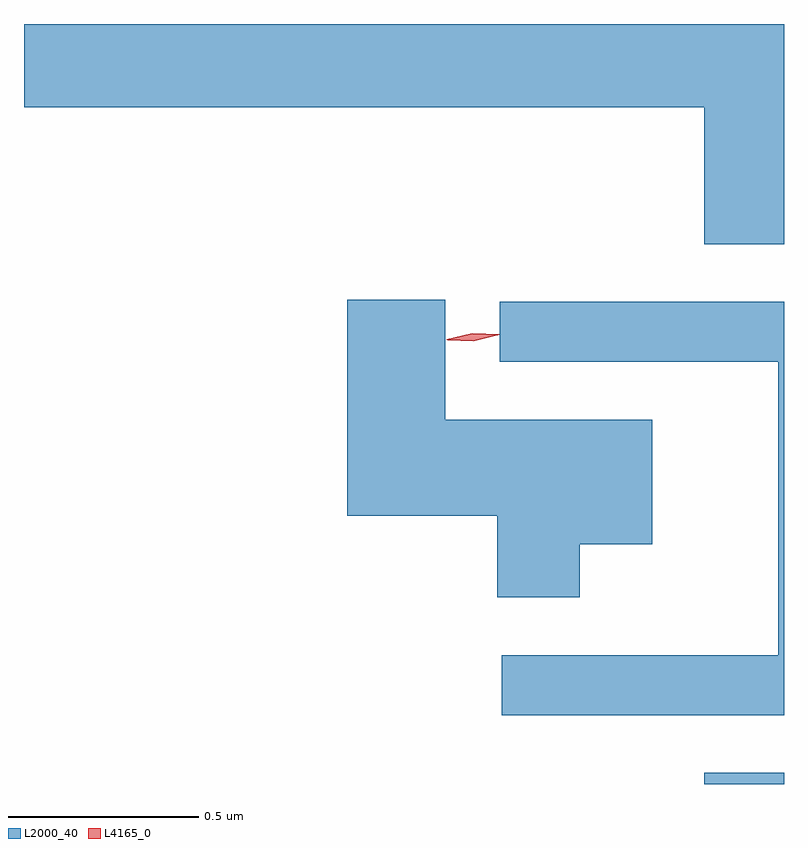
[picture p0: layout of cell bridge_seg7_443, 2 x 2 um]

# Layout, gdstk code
import gdstk
lib = gdstk.Library(unit=1e-6, precision=1e-09)
def R(c, l, rs):  # rectangles x0, y0, x1, y1
    for r in rs: c.add(gdstk.rectangle(r[:2], r[2:], *l))
def P(c, l, *ps):  # polygons
    for p in ps: c.add(gdstk.Polygon(p, *l))
L2000_40 = (2000, 40)
L4165_0 = (4165, 0)

bridge_seg7_443 = lib.new_cell('bridge_seg7_443')
R(bridge_seg7_443, L2000_40, [(1099.766,1712.535,1099.976,1712.564)])
P(bridge_seg7_443, L2000_40, [(1099.976,1714.535),(1097.976,1714.535),(1097.976,1714.316),(1099.766,1714.316),(1099.766,1713.956),(1099.976,1713.956)],
  [(1099.439,1713.166),(1099.629,1713.166),(1099.629,1713.494),(1099.084,1713.494),(1099.084,1713.809),(1098.826,1713.809),(1098.826,1713.241),(1099.221,1713.241),(1099.221,1713.026),(1099.439,1713.026)],
  [(1099.976,1713.804),(1099.228,1713.804),(1099.228,1713.646),(1099.961,1713.646),(1099.961,1712.874),(1099.233,1712.874),(1099.233,1712.716),(1099.976,1712.716)])
P(bridge_seg7_443, L4165_0, [(1099.158,1713.701),(1099.089,1713.704),(1099.088,1713.704),(1099.089,1713.705),(1099.156,1713.721),(1099.226,1713.718),(1099.226,1713.718),(1099.226,1713.717)],
  [(1099.158,1713.7),(1099.091,1713.703),(1099.091,1713.704),(1099.091,1713.704),(1099.156,1713.72),(1099.222,1713.717),(1099.223,1713.716),(1099.222,1713.716)])

lib.write_gds('bridge_seg7_443.gds')
